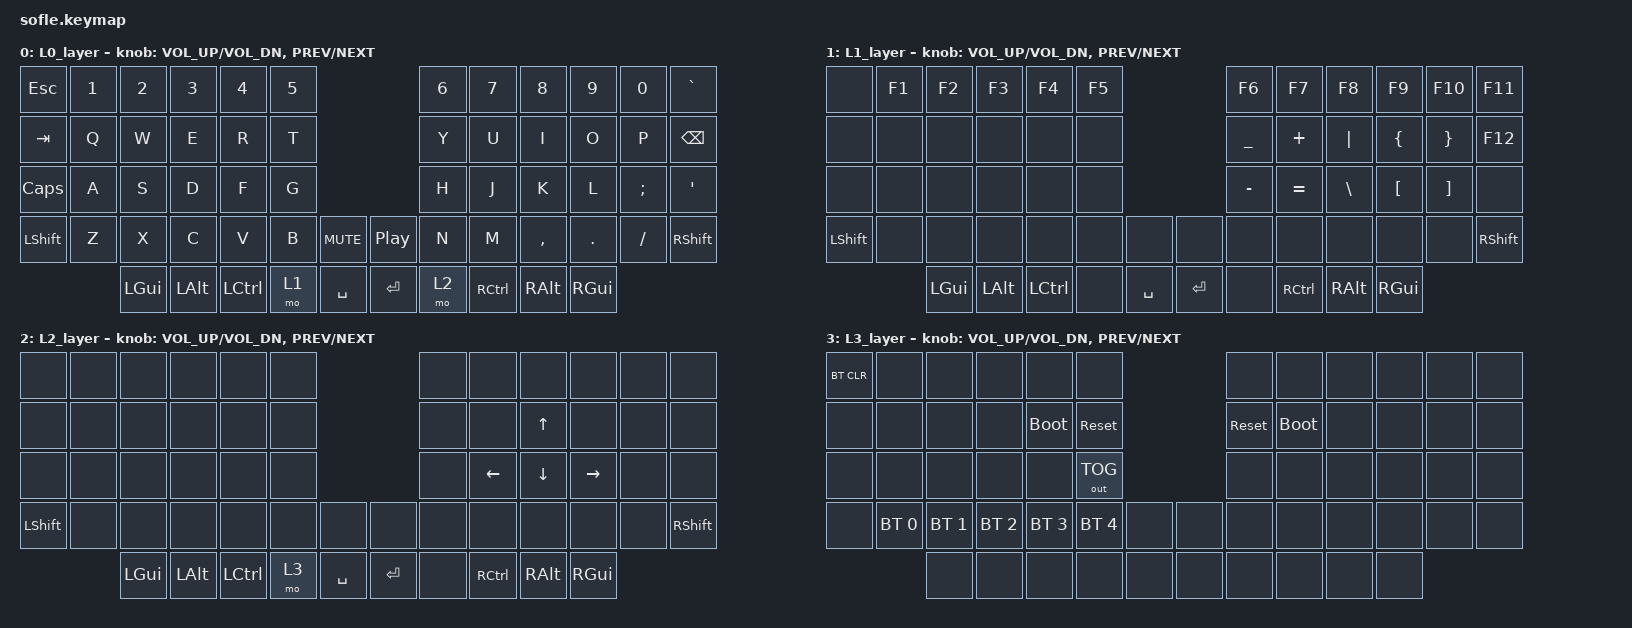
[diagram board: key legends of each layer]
// corne_v3.keymap

#include <behaviors.dtsi>
#include <dt-bindings/zmk/keys.h>
#include <dt-bindings/zmk/bt.h>
#include <dt-bindings/zmk/outputs.h>

/ {
    keymap {
        compatible = "zmk,keymap";

        L0_layer {
            bindings = <
                &kp ESC    &kp N1     &kp N2     &kp N3     &kp N4     &kp N5                            &kp N6     &kp N7     &kp N8     &kp N9     &kp N0     &kp GRAVE
                &kp TAB    &kp Q      &kp W      &kp E      &kp R      &kp T                             &kp Y      &kp U      &kp I      &kp O      &kp P      &kp BSPC
                &kp CAPS   &kp A      &kp S      &kp D      &kp F      &kp G                             &kp H      &kp J      &kp K      &kp L      &kp SEMI   &kp SQT
                &kp LSHFT  &kp Z      &kp X      &kp C      &kp V      &kp B      &kp C_MUTE  &kp C_PP   &kp N      &kp M      &kp COMMA  &kp DOT    &kp FSLH   &kp RSHFT
                                      &kp LGUI   &kp LALT   &kp LCTRL  &mo 1      &kp SPACE   &kp RET    &mo 2      &kp RCTRL  &kp RALT   &kp RGUI
            >;
            sensor-bindings = <&inc_dec_kp C_VOL_UP C_VOL_DN &inc_dec_kp C_PREV C_NEXT>;
        };

        L1_layer {
            bindings = <
                &none      &kp F1     &kp F2     &kp F3     &kp F4     &kp F5                            &kp F6     &kp F7     &kp F8     &kp F9     &kp F10    &kp F11
                &none      &none      &none      &none      &none      &none                             &kp UNDER  &kp PLUS   &kp PIPE   &kp LBRC   &kp RBRC   &kp F12
                &none      &none      &none      &none      &none      &none                             &kp MINUS  &kp EQUAL  &kp BSLH   &kp LBKT   &kp RBKT   &none
                &kp LSHFT  &none      &none      &none      &none      &none      &none       &none      &none      &none      &none      &none      &none      &kp RSHFT
                                      &kp LGUI   &kp LALT   &kp LCTRL  &none      &kp SPACE   &kp RET    &none      &kp RCTRL  &kp RALT   &kp RGUI
            >;
            sensor-bindings = <&inc_dec_kp C_VOL_UP C_VOL_DN &inc_dec_kp C_PREV C_NEXT>;
        };

        L2_layer {
            bindings = <
                &none      &none      &none      &none      &none      &none                             &none      &none      &none      &none      &none      &none
                &none      &none      &none      &none      &none      &none                             &none      &none      &kp UP     &none      &none      &none
                &none      &none      &none      &none      &none      &none                             &none      &kp LEFT   &kp DOWN   &kp RIGHT  &none      &none
                &kp LSHFT  &none      &none      &none      &none      &none      &none       &none      &none      &none      &none      &none      &none      &kp RSHFT
                                      &kp LGUI   &kp LALT   &kp LCTRL  &mo 3      &kp SPACE   &kp RET    &none      &kp RCTRL  &kp RALT   &kp RGUI
            >;
            sensor-bindings = <&inc_dec_kp C_VOL_UP C_VOL_DN &inc_dec_kp C_PREV C_NEXT>;
        };

        L3_layer {
            bindings = <
                &bt BT_CLR  &none         &none         &none         &none         &none                                &none       &none        &none  &none  &none  &none
                &none       &none         &none         &none         &bootloader   &sys_reset                           &sys_reset  &bootloader  &none  &none  &none  &none
                &none       &none         &none         &none         &none         &out OUT_TOG                         &none       &none        &none  &none  &none  &none
                &none       &bt BT_SEL 0  &bt BT_SEL 1  &bt BT_SEL 2  &bt BT_SEL 3  &bt BT_SEL 4  &none       &none      &none       &none        &none  &none  &none  &none
                                          &none         &none         &none         &none         &none       &none      &none       &none        &none         &none
            >;
            sensor-bindings = <&inc_dec_kp C_VOL_UP C_VOL_DN &inc_dec_kp C_PREV C_NEXT>;
        };
    };
};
